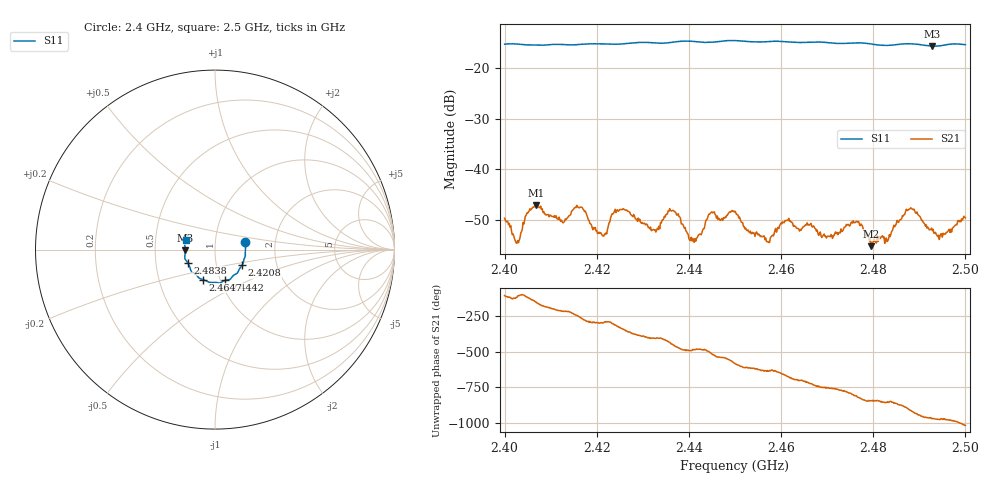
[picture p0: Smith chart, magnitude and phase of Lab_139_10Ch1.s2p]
# Hz S RI R 50
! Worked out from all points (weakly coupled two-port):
!   601 points, 2.4 GHz to 2.5 GHz, reference 50 ohm
!   highest |S21| = -47.15 dB at 2.4068 GHz (marker M1); lowest = -55.3 dB at 2.4795 GHz (marker M2)
!   lowest |S11| = -15.6 dB at 2.4928 GHz (marker M3), VSWR 1.40, Z = 35.8 - j0.358 ohm
!   |S11| at or under -10 dB: start of sweep to end of sweep
!   S12 and S22 are empty: the file has one direction only
!   S11 on the Smith chart (normalised r, x): 2.4 GHz: 1.40, +0.12; 2.4208 GHz: 1.33, -0.24; 2.4442 GHz: 1.05, -0.37; 2.4647 GHz: 0.83, -0.29; 2.4838 GHz: 0.73, -0.11; 2.5 GHz: 0.72, +0.08
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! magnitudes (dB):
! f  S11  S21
! 2.4 GHz  -15.2  -49.7
! 2.4028 GHz  -15.2  -54.2
! 2.4068 GHz  -15.4  -47.1
! 2.4125 GHz  -15.3  -50.4
! 2.4167 GHz  -15.3  -47.5
! 2.4208 GHz  -15.2  -52.6
! 2.4255 GHz  -15.2  -48.1
! 2.4333 GHz  -15.0  -52.0
! 2.4363 GHz  -14.9  -48.3
! 2.4412 GHz  -14.7  -54.5
! 2.4442 GHz  -14.9  -49.3
! 2.45 GHz  -14.5  -48.4
! 2.457 GHz  -14.7  -54.4
! 2.4647 GHz  -14.9  -51.6
! 2.4667 GHz  -14.8  -51.4
! 2.4763 GHz  -15.0  -50.4
! 2.4795 GHz  -15.2  -55.3
! 2.4833 GHz  -15.5  -53.8
! 2.4838 GHz  -15.4  -52.9
! 2.4883 GHz  -15.2  -47.9
! 2.4928 GHz  -15.6  -52.2
! 2.5 GHz  -15.3  -49.7
